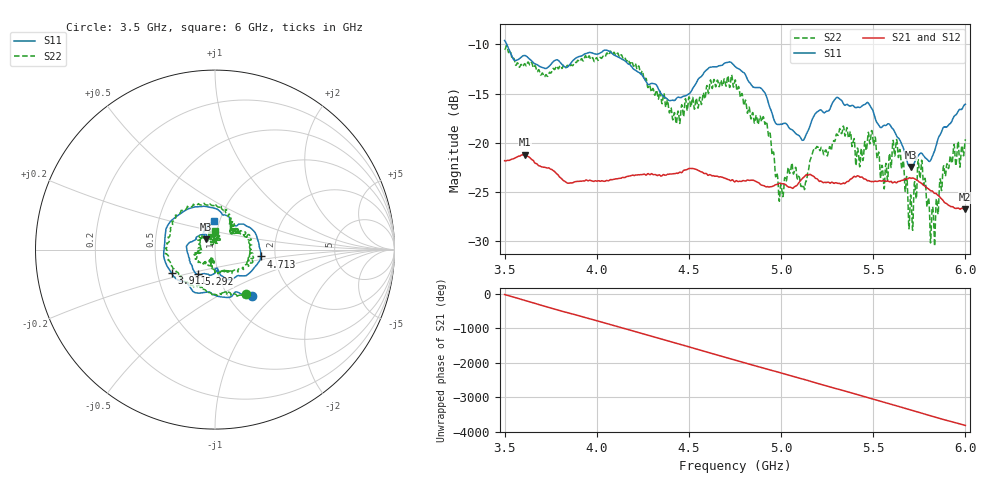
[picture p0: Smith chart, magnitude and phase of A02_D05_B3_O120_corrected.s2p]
! Created with skrf 1.9.0 (http://scikit-rf.org).
# Hz S RI R 50.0
!freq ReS11 ImS11 ReS21 ImS21 ReS12 ImS12 ReS22 ImS22
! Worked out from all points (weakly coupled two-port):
!   1601 points, 3.5 GHz to 6 GHz, reference 50 ohm
!   highest |S21| = -21.21 dB at 3.609 GHz (marker M1); lowest = -26.7 dB at 5.995 GHz (marker M2)
!   lowest |S11| = -22.4 dB at 5.706 GHz (marker M3), VSWR 1.16, Z = 45.1 + j5.22 ohm
!   |S11| at or under -10 dB: 3.512 GHz to end of sweep
!   |S22| runs from -30.5 to -10.1 dB; largest |S21 - S12| = 0.001
!   S11 on the Smith chart (normalised r, x): 3.5 GHz: 1.27, -0.74; 3.911 GHz: 0.59, -0.17; 4.713 GHz: 1.67, -0.14; 5.292 GHz: 0.80, -0.23; 6 GHz: 0.94, +0.30
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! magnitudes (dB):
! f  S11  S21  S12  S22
! 3.5 GHz  -9.6  -21.8  -21.8  -10.4
! 3.609 GHz  -11.1  -21.2  -21.2  -11.9
! 3.911 GHz  -11.2  -23.9  -23.9  -11.7
! 3.917 GHz  -11.2  -23.9  -23.9  -11.4
! 4.123 GHz  -11.3  -23.6  -23.6  -11.3
! 4.334 GHz  -14.5  -23.3  -23.2  -15.5
! 4.441 GHz  -15.4  -23.1  -23.1  -16.8
! 4.713 GHz  -11.8  -23.7  -23.7  -13.3
! 4.75 GHz  -12.2  -23.9  -23.9  -13.6
! 4.914 GHz  -15.0  -24.4  -24.4  -18.1
! 4.998 GHz  -18.1  -24.1  -24.1  -24.2
! 5.125 GHz  -19.6  -23.5  -23.5  -24.6
! 5.167 GHz  -17.7  -23.3  -23.3  -21.2
! 5.292 GHz  -15.6  -24.1  -24.1  -19.8
! 5.584 GHz  -18.1  -23.9  -23.9  -21.8
! 5.636 GHz  -19.5  -23.9  -23.9  -21.5
! 5.706 GHz  -22.4  -23.6  -23.6  -25.8
! 5.755 GHz  -21.1  -24.0  -24.0  -23.5
! 5.822 GHz  -21.3  -24.9  -24.9  -26.5
! 5.889 GHz  -18.4  -26.1  -26.1  -23.3
! 5.995 GHz  -16.1  -26.7  -26.7  -20.3
! 6 GHz  -16.1  -26.7  -26.7  -19.6
